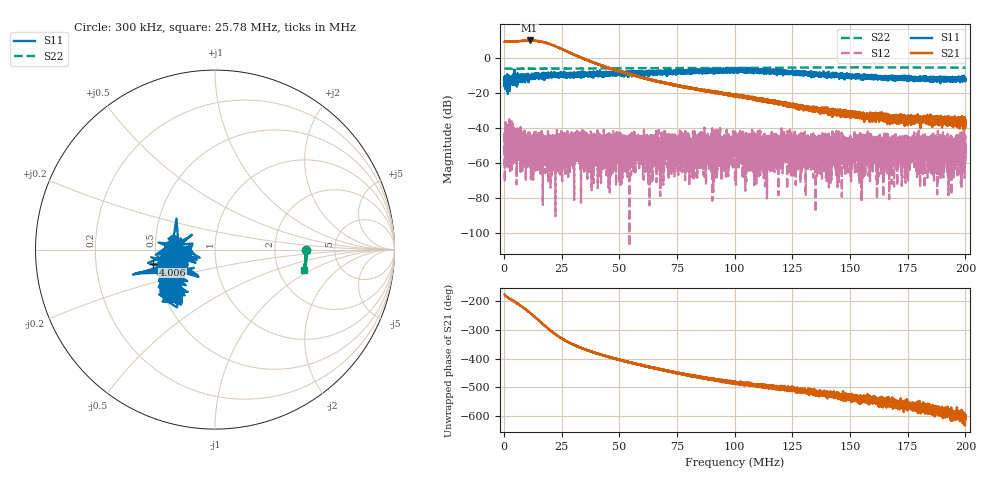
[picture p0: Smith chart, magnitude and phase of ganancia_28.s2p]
# Hz S DB R 50
! CMT, M5065, 19127446, 24.2.4/2
! Date: 11/8/2024 5:09:55 PM
! Data: Format (Calibration Info)
! Freq	S11:dB/Ang(F2)	S21:dB/Ang(F2)	S12:dB/Ang(F2)	S22:dB/Ang(F2)
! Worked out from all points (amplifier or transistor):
!   9000 points, 300 kHz to 200 MHz, reference 50 ohm
!   highest |S21| = 10.3 dB at 11.13 MHz (marker M1)
!   |S21| within 3 dB of that: start of sweep to 21.73 MHz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
!   unconditionally stable (mu >= 1): start of sweep to end of sweep
!   at 33.59 MHz: K = 71.14, MAG = 2.3 dB, |S12| = -47.2 dB
!   at 100.2 MHz: K = 927.69, MAG = -18.5 dB, |S12| = -49.4 dB
!   at 200 MHz: K = 4626.01, MAG = -34.4 dB, |S12| = -46.8 dB
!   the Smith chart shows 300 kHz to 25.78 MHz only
!   S11 on the Smith chart (normalised r, x): 300 kHz: 0.62, +0.08; 4.006 MHz: 0.48, -0.09; 25.78 MHz: 0.54, -0.33
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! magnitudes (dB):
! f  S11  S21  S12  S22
! 300 kHz  -12.4  9.5  -43.3  -5.9
! 4.006 MHz  -9.0  9.6  -44.5  -5.9
! 11.13 MHz  -9.8  10.3  -57.3  -5.9
! 17.19 MHz  -8.8  9.3  -53.4  -5.9
! 19.58 MHz  -9.3  8.4  -62.3  -5.9
! 25.78 MHz  -8.8  5.0  -46.6  -5.8
! 33.59 MHz  -9.0  0.4  -47.2  -5.8
! 45.02 MHz  -9.9  -5.4  -60.7  -5.7
! 66.87 MHz  -8.2  -13.0  -49.2  -5.5
! 87.98 MHz  -7.5  -18.3  -52.5  -5.5
! 92.51 MHz  -7.6  -19.5  -51.6  -5.5
! 95.23 MHz  -6.4  -20.0  -55.3  -5.5
! 100.2 MHz  -6.6  -21.0  -49.4  -5.4
! 133.4 MHz  -8.5  -27.5  -52.2  -5.2
! 166.7 MHz  -11.5  -33.1  -57.5  -5.1
! 172.5 MHz  -11.8  -34.1  -57.3  -5.2
! 174.5 MHz  -10.6  -34.7  -52.8  -5.2
! 176.9 MHz  -12.0  -35.8  -55.2  -5.2
! 180.1 MHz  -11.2  -35.4  -60.2  -5.2
! 193 MHz  -11.3  -34.8  -47.3  -5.3
! 198.9 MHz  -12.0  -36.9  -56.1  -5.3
! 200 MHz  -11.7  -36.2  -46.8  -5.3
